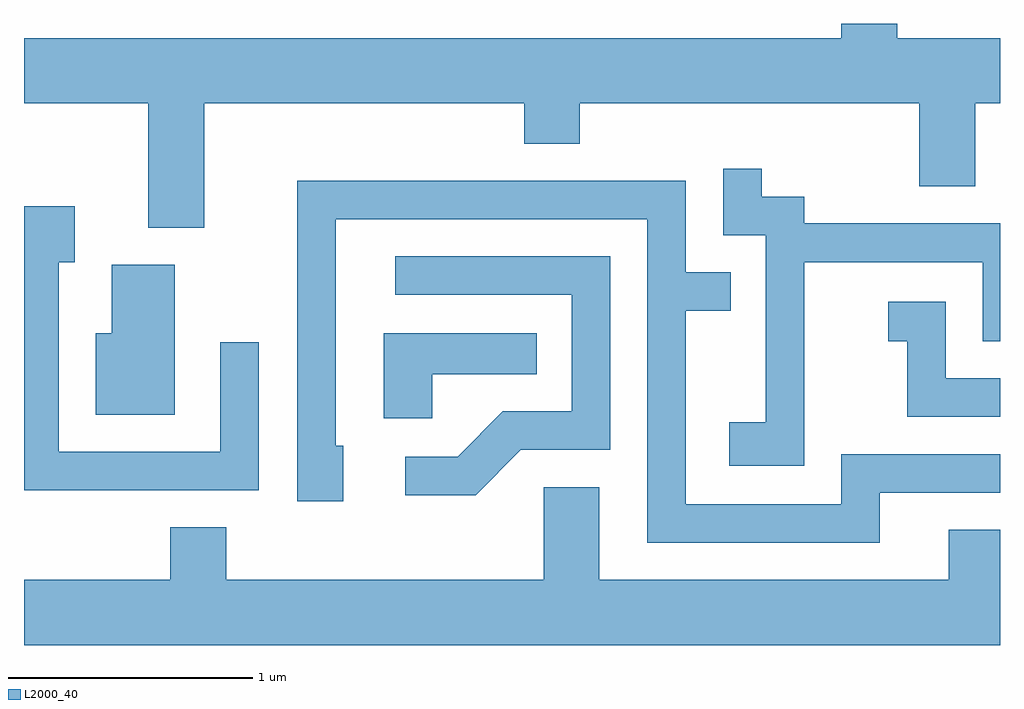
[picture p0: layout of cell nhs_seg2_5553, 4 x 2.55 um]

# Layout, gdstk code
import gdstk
lib = gdstk.Library(unit=1e-6, precision=1e-09)
def P(c, l, *ps):  # polygons
    for p in ps: c.add(gdstk.Polygon(p, *l))
L2000_40 = (2000, 40)

nhs_seg2_5553 = lib.new_cell('nhs_seg2_5553')
P(nhs_seg2_5553, L2000_40, [(350.349,999.476),(351.661,999.476),(351.661,999.311),(351.889,999.311),(351.889,999.476),(353.281,999.476),(353.281,999.136),(353.509,999.136),(353.509,999.476),(353.611,999.476),(353.611,999.744),(353.189,999.744),(353.189,999.802),(352.961,999.802),(352.961,999.744),(349.611,999.744),(349.611,999.476),(350.121,999.476),(350.121,998.966),(350.349,998.966)],
  [(352.809,998.826),(353.541,998.826),(353.541,998.501),(353.611,998.501),(353.611,998.984),(352.809,998.984),(352.809,999.094),(352.634,999.094),(352.634,999.208),(352.476,999.208),(352.476,998.936),(352.651,998.936),(352.651,998.169),(352.501,998.169),(352.501,997.991),(352.809,997.991)],
  [(353.119,997.881),(353.611,997.881),(353.611,998.039),(352.961,998.039),(352.961,997.834),(352.324,997.834),(352.324,998.626),(352.508,998.626),(352.508,998.784),(352.324,998.784),(352.324,999.159),(350.731,999.159),(350.731,997.846),(350.919,997.846),(350.919,998.074),(350.889,998.074),(350.889,999.001),(352.166,999.001),(352.166,997.676),(353.119,997.676)],
  [(350.574,998.498),(350.416,998.498),(350.416,998.049),(349.754,998.049),(349.754,998.826),(349.819,998.826),(349.819,999.054),(349.611,999.054),(349.611,997.891),(350.574,997.891)],
  [(351.647,998.056),(352.014,998.056),(352.014,998.849),(351.133,998.849),(351.133,998.691),(351.856,998.691),(351.856,998.214),(351.574,998.214),(351.389,998.029),(351.173,998.029),(351.173,997.871),(351.462,997.871)],
  [(350.229,998.814),(349.971,998.814),(349.971,998.534),(349.906,998.534),(349.906,998.201),(350.229,998.201)],
  [(353.611,998.349),(353.389,998.349),(353.389,998.664),(353.153,998.664),(353.153,998.501),(353.231,998.501),(353.231,998.191),(353.611,998.191)],
  [(351.284,998.366),(351.713,998.366),(351.713,998.534),(351.086,998.534),(351.086,998.186),(351.284,998.186)],
  [(353.611,997.729),(353.401,997.729),(353.401,997.524),(351.969,997.524),(351.969,997.904),(351.741,997.904),(351.741,997.524),(350.439,997.524),(350.439,997.739),(350.211,997.739),(350.211,997.524),(349.611,997.524),(349.611,997.256),(353.611,997.256)])

lib.write_gds('nhs_seg2_5553.gds')
